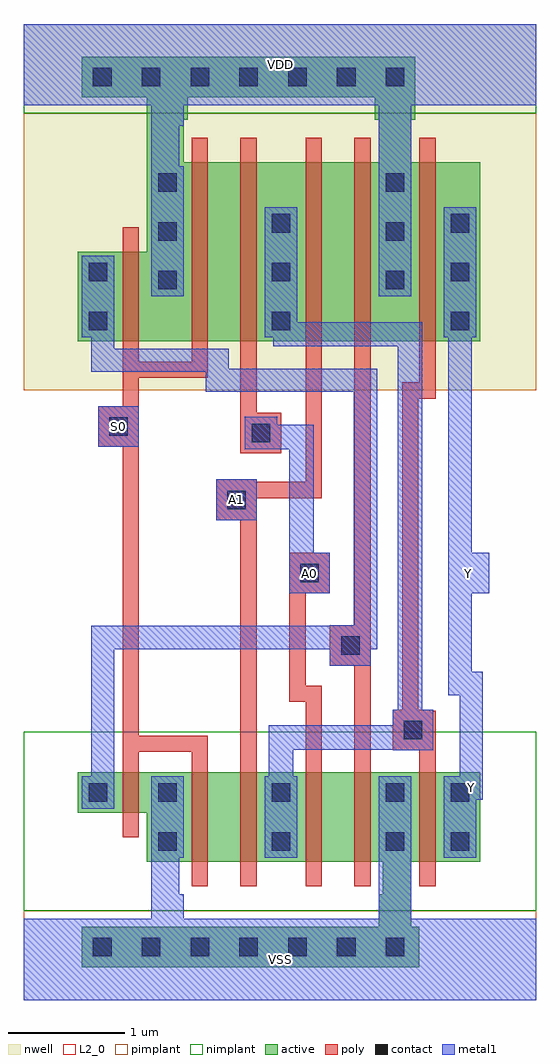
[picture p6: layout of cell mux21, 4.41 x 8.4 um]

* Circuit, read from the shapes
.subckt mux21 A0 A1 S0 VDD VSS Y
M1 VSS S0 n1 VSS nfet w=0.35u l=0.14u
M2 n2 S0 VSS VSS nfet w=0.77u l=0.14u
M3 n3 A1 n2 VSS nfet w=0.77u l=0.14u
M4 n4 A0 n3 VSS nfet w=0.77u l=0.14u
M5 VSS n1 n4 VSS nfet w=0.77u l=0.14u
M6 Y n3 VSS VSS nfet w=0.77u l=0.14u
M7 VDD S0 n1 VDD pfet w=0.77u l=0.14u
M8 n5 S0 VDD VDD pfet w=1.54u l=0.14u
M9 n3 A0 n5 VDD pfet w=1.54u l=0.14u
M10 n6 A1 n3 VDD pfet w=1.54u l=0.14u
M11 VDD n1 n6 VDD pfet w=1.54u l=0.14u
M12 Y n3 VDD VDD pfet w=1.54u l=0.14u
.ends

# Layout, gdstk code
from math import pi, radians
import gdstk
lib = gdstk.Library(unit=1e-6, precision=1e-09)
def R(c, l, rs):  # rectangles x0, y0, x1, y1
    for r in rs: c.add(gdstk.rectangle(r[:2], r[2:], *l))
def A(c, l, x, y, w, h, nx, ny, dx, dy):  # array of equal rectangles
    R(c, l, [(x+i*dx, y+j*dy, x+i*dx+w, y+j*dy+h) for i in range(nx) for j in range(ny)])
def P(c, l, *ps):  # polygons
    for p in ps: c.add(gdstk.Polygon(p, *l))
L2_0 = (2, 0)
nwell = (3, 0)
active = (6, 0)
poly = (17, 0)
pimplant = (25, 0)
nimplant = (26, 0)
contact = (30, 0)
metal1 = (31, 0)

adk_poly_m1 = lib.new_cell('ADK_poly_m1')
R(adk_poly_m1, poly, [(-0.175,-0.175,0.175,0.175)])
R(adk_poly_m1, contact, [(-0.08,-0.08,0.08,0.08)])
R(adk_poly_m1, metal1, [(-0.175,-0.175,0.175,0.175)])

mux21 = lib.new_cell('mux21')
R(mux21, L2_0, [(0,0,4.41,2.31)])
R(mux21, nwell, [(0,5.25,4.41,8.4)])
P(mux21, nwell, [(0,5.25),(4.41,5.25),(4.41,7.63),(0.575,7.63),(0.575,6.86),(0,6.86)])
R(mux21, active, [(0.5,0.28,3.405,0.63), (3.055,0.63,3.335,0.91), (3.09,0.91,3.335,1.19), (2.985,1.19,3.37,1.96), (3.02,1.19,3.93,1.96), (3.02,1.19,3.405,1.96), (3.545,1.19,3.93,1.96), (0.465,1.61,0.85,1.96), (0.465,5.67,0.85,6.44), (2.985,5.67,3.37,7.21), (3.02,5.67,3.93,7.21), (3.02,5.67,3.405,7.21), (3.545,5.67,3.93,7.21), (1.06,7.21,1.375,7.575), (3.055,7.21,3.335,7.575), (1.06,7.575,1.41,7.77), (3.02,7.575,3.37,7.77), (0.5,7.77,3.37,8.12)])
P(mux21, active, [(3.37,1.19),(3.37,1.96),(0.465,1.96),(0.465,1.61),(1.06,1.61),(1.06,1.19)],
  [(3.37,5.67),(3.37,7.21),(1.06,7.21),(1.06,6.44),(0.465,6.44),(0.465,5.67)])
R(mux21, poly, [(1.445,0.98,1.585,1.19), (1.865,0.98,2.005,1.19), (2.425,0.98,2.565,1.19), (2.845,0.98,2.985,1.19), (3.405,0.98,3.545,1.19), (1.445,1.19,1.585,1.96), (1.865,1.19,2.005,1.96), (2.425,1.19,2.565,1.96), (2.845,1.19,2.985,1.96), (3.405,1.19,3.545,1.96), (0.85,1.4,0.99,1.61), (0.85,1.61,0.99,1.96), (0.85,1.96,0.99,2.17), (1.445,1.96,1.585,2.17), (1.865,1.96,2.005,2.17), (2.425,1.96,2.565,2.17), (2.845,1.96,2.985,2.17), (3.405,1.96,3.545,2.17), (0.85,2.135,0.99,5.495), (0.99,2.135,1.585,2.275), (1.865,2.135,2.005,4.13), (2.845,2.135,2.985,5.495), (1.865,4.705,2.215,5.055), (1.865,4.705,2.005,5.495), (0.99,5.355,1.585,5.495), (0.85,5.46,0.99,5.67), (1.445,5.46,1.585,5.67), (1.865,5.46,2.005,5.67), (2.425,5.46,2.565,5.67), (2.845,5.46,2.985,5.67), (3.405,5.46,3.545,5.67), (0.85,5.67,0.99,6.44), (1.445,5.67,1.585,7.21), (1.865,5.67,2.005,7.21), (2.425,5.67,2.565,7.21), (2.845,5.67,2.985,7.21), (3.405,5.67,3.545,7.21), (0.85,6.44,0.99,6.65), (1.445,7.21,1.585,7.42), (1.865,7.21,2.005,7.42), (2.425,7.21,2.565,7.42), (2.845,7.21,2.985,7.42), (3.405,7.21,3.545,7.42)])
P(mux21, poly, [(2.285,2.565),(2.425,2.565),(2.425,2.03),(2.565,2.03),(2.565,2.705),(2.425,2.705),(2.425,3.745),(2.285,3.745)],
  [(2.005,4.32),(2.565,4.32),(2.565,5.495),(2.425,5.495),(2.425,4.46),(2.005,4.46)],
  [(3.255,2.35),(3.405,2.35),(3.405,2.03),(3.545,2.03),(3.545,2.49),(3.395,2.49),(3.395,5.175),(3.545,5.175),(3.545,5.6),(3.405,5.6),(3.405,5.315),(3.255,5.315)])
R(mux21, pimplant, [(0,0,4.41,0.77), (0,5.25,4.41,7.63)])
R(mux21, nimplant, [(0,0.77,4.41,2.31), (0,7.63,4.41,8.4)])
A(mux21, contact, 0.595, 0.375, 0.16, 0.16, 7, 2, 0.42, 7.49)
A(mux21, contact, 1.155, 1.285, 0.16, 0.16, 3, 2, 0.98, 0.42)
A(mux21, contact, 2.135, 5.765, 0.16, 0.16, 1, 3, 0, 0.42)
A(mux21, contact, 3.675, 5.765, 0.16, 0.16, 1, 3, 0, 0.42)
A(mux21, contact, 1.155, 6.115, 0.16, 0.16, 1, 3, 0, 0.42)
R(mux21, contact, [(3.115,1.285,3.275,1.445), (3.675,1.285,3.835,1.445), (0.56,1.705,0.72,1.865), (3.115,1.705,3.275,1.865), (3.675,1.705,3.835,1.865), (1.96,4.8,2.12,4.96), (0.56,5.765,0.72,5.925), (3.115,6.115,3.275,6.275), (3.115,6.115,3.275,6.275), (0.56,6.185,0.72,6.345), (3.115,6.535,3.275,6.695), (3.115,6.535,3.275,6.695), (3.115,6.955,3.275,7.115), (3.115,6.955,3.275,7.115)])
A(mux21, metal1, 1.095, 1.225, 0.28, 0.7, 3, 1, 0.98, 0)
R(mux21, metal1, [(0,0,4.41,0.7), (1.095,0.7,1.375,0.91), (3.055,0.7,3.335,0.91), (3.055,0.875,3.335,1.225), (1.095,0.91,1.34,1.225), (3.055,1.225,3.335,1.925), (3.615,1.225,3.895,1.925), (0.5,1.645,0.78,1.925), (2.285,3.5,2.635,3.85), (3.655,3.5,4.005,3.85), (1.655,4.13,2.005,4.48), (1.9,4.74,2.18,5.02), (0.64,4.76,0.99,5.11), (0.5,5.705,0.78,6.405), (2.075,5.705,2.355,6.825), (3.615,5.705,3.895,6.825), (1.095,6.055,1.375,7.175), (3.055,6.055,3.335,7.175), (3.055,6.055,3.335,7.175), (1.095,7.175,1.34,7.525), (3.055,7.175,3.335,7.525), (1.095,7.525,1.375,7.7), (3.055,7.525,3.335,7.7), (0,7.7,4.41,8.4)])
P(mux21, metal1, [(2.11,1.715),(2.32,1.715),(2.32,2.155),(3.43,2.155),(3.43,5.835),(2.355,5.835),(2.355,5.705),(2.145,5.705),(2.145,5.625),(3.22,5.625),(3.22,2.365),(2.11,2.365)],
  [(1.565,5.235),(2.84,5.235),(2.84,4.205),(3.04,4.205),(3.04,5.435),(1.765,5.435),(1.765,5.605),(1.565,5.605)],
  [(2.18,4.74),(2.285,4.74),(2.285,3.85),(2.495,3.85),(2.495,4.95),(2.18,4.95)],
  [(0.58,5.405),(1.765,5.405),(1.765,5.605),(0.78,5.605),(0.78,5.905),(0.58,5.905)],
  [(0.58,1.725),(0.78,1.725),(0.78,3.02),(3.04,3.02),(3.04,4.33),(2.84,4.33),(2.84,3.22),(0.58,3.22)],
  [(3.655,2.625),(3.75,2.625),(3.75,1.725),(3.95,1.725),(3.95,2.825),(3.855,2.825),(3.855,5.905),(3.655,5.905)])
mux21.add(gdstk.Reference(adk_poly_m1, (3.35,2.325), rotation=pi))
mux21.add(gdstk.Reference(adk_poly_m1, (2.81,3.05), rotation=pi))
mux21.add(gdstk.Reference(adk_poly_m1, (2.46,3.675), rotation=pi))
mux21.add(gdstk.Reference(adk_poly_m1, (1.83,4.305), rotation=pi))
mux21.add(gdstk.Reference(adk_poly_m1, (0.815,4.935), rotation=pi))
mux21.add(gdstk.Label('VDD', (2.205,8.05), layer=131, texttype=0))
mux21.add(gdstk.Label('VSS', (2.205,0.35), layer=131, texttype=0))
mux21.add(gdstk.Label('Y', (3.83,3.675), layer=131, texttype=0))
mux21.add(gdstk.Label('S0', (0.815,4.935), layer=131, texttype=0))
mux21.add(gdstk.Label('A1', (1.83,4.305), layer=131, texttype=0))
mux21.add(gdstk.Label('A0', (2.46,3.675), layer=131, texttype=0))
mux21.add(gdstk.Label('VDD', (2.205,8.05), layer=31, texttype=0))
mux21.add(gdstk.Label('VSS', (2.205,0.35), layer=31, texttype=0))
mux21.add(gdstk.Label('Y', (3.83,3.675), layer=31, texttype=0))
mux21.add(gdstk.Label('Y', (3.85,1.825), layer=31, texttype=0))
mux21.add(gdstk.Label('S0', (0.815,4.935), layer=31, texttype=0))
mux21.add(gdstk.Label('A1', (1.83,4.305), layer=31, texttype=0))
mux21.add(gdstk.Label('A0', (2.46,3.675), layer=31, texttype=0))

lib.write_gds('mux21.gds')
